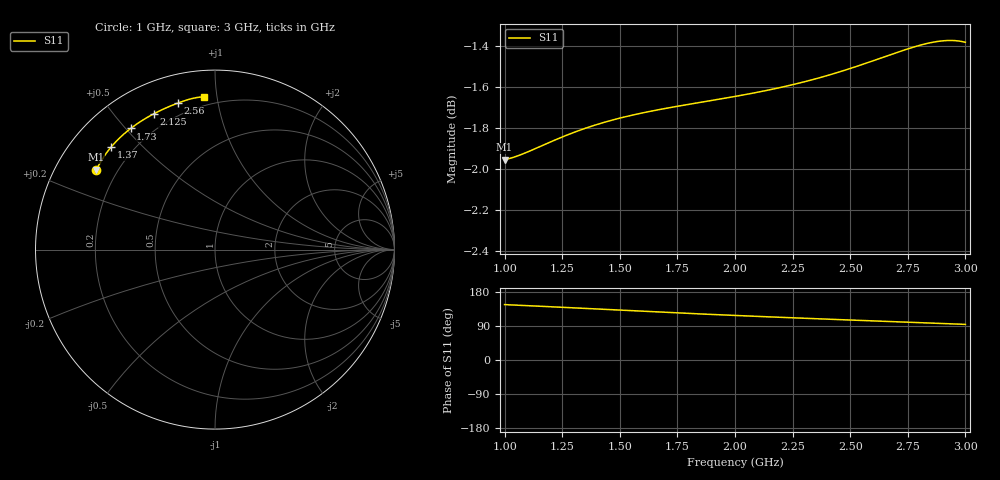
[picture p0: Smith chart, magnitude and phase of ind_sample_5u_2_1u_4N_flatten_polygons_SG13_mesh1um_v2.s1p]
#  Hz  S  RI  R  50
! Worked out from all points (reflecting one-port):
!   401 points, 1 GHz to 3 GHz, reference 50 ohm
!   lowest |S11| = -2.0 dB at 1 GHz (marker M1), VSWR 8.93, Z = 6.11 + j15 ohm
!   phase of S11 starts at 146 deg and turns -52 deg over the sweep
!   S11 on the Smith chart (normalised r, x): 1 GHz: 0.12, +0.30; 1.37 GHz: 0.12, +0.41; 1.73 GHz: 0.12, +0.52; 2.125 GHz: 0.13, +0.64; 2.56 GHz: 0.14, +0.77; 3 GHz: 0.15, +0.92
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1e9  -0.6633 0.4446
1.01e9  -0.6614 0.4478
1.03e9  -0.6577 0.4543
1.125e9  -0.6388 0.4867
1.185e9  -0.6257 0.5078
1.25e9  -0.6102 0.5307
1.31e9  -0.595 0.5514
1.37e9  -0.5788 0.5715
1.435e9  -0.5604 0.5924
1.5e9  -0.5412 0.6124
1.615e9  -0.5059 0.6454
1.73e9  -0.4696 0.6751
1.75e9  -0.4632 0.68
1.81e9  -0.4439 0.694
1.875e9  -0.423 0.7083
2e9  -0.3827 0.7334
2.125e9  -0.3426 0.7558
2.25e9  -0.3029 0.7757
2.37e9  -0.2652 0.7929
2.5e9  -0.2244 0.8098
2.56e9  -0.2056 0.817
2.66e9  -0.1738 0.8282
2.75e9  -0.1446 0.8372
2.825e9  -0.1196 0.8435
2.89e9  -0.0974 0.8477
2.94e9  -0.0801 0.8498
2.99e9  -0.0628 0.8507
3e9  -0.0593 0.8507
